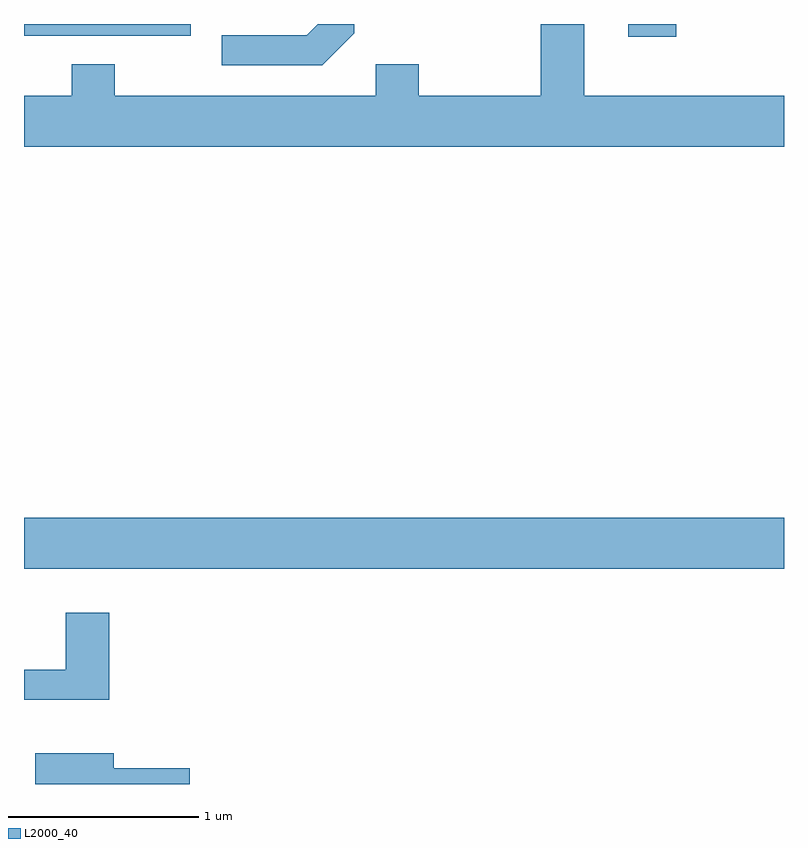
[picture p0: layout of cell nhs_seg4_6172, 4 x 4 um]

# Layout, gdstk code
import gdstk
lib = gdstk.Library(unit=1e-6, precision=1e-09)
def R(c, l, rs):  # rectangles x0, y0, x1, y1
    for r in rs: c.add(gdstk.rectangle(r[:2], r[2:], *l))
def P(c, l, *ps):  # polygons
    for p in ps: c.add(gdstk.Polygon(p, *l))
L2000_40 = (2000, 40)

nhs_seg4_6172 = lib.new_cell('nhs_seg4_6172')
R(nhs_seg4_6172, L2000_40, [(365.611,1359.116,369.611,1359.384), (368.791,1361.916,369.044,1361.982), (365.611,1361.921,366.489,1361.982)])
P(nhs_seg4_6172, L2000_40, [(369.611,1361.604),(368.559,1361.604),(368.559,1361.982),(368.331,1361.982),(368.331,1361.604),(367.689,1361.604),(367.689,1361.769),(367.461,1361.769),(367.461,1361.604),(366.089,1361.604),(366.089,1361.769),(365.861,1361.769),(365.861,1361.604),(365.611,1361.604),(365.611,1361.336),(369.611,1361.336)],
  [(367.349,1361.934),(367.349,1361.982),(367.156,1361.982),(367.099,1361.924),(366.653,1361.924),(366.653,1361.766),(367.182,1361.766)],
  [(366.059,1358.884),(365.831,1358.884),(365.831,1358.584),(365.611,1358.584),(365.611,1358.426),(366.059,1358.426)],
  [(366.484,1358.064),(366.084,1358.064),(366.084,1358.144),(365.671,1358.144),(365.671,1357.982),(366.484,1357.982)])

lib.write_gds('nhs_seg4_6172.gds')
